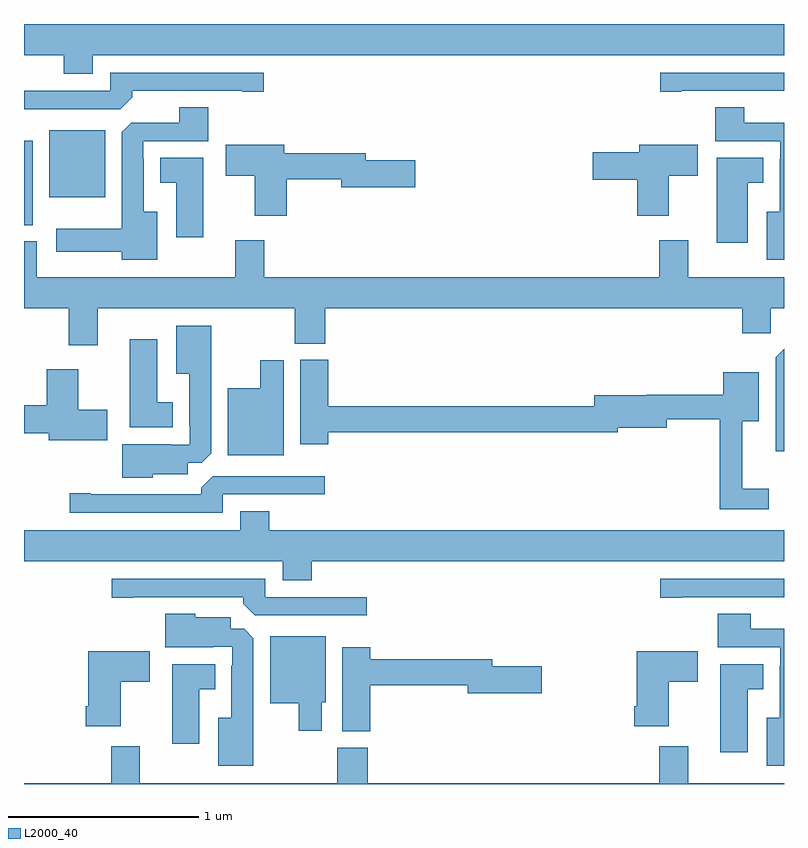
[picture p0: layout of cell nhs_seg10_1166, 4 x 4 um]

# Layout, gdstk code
import gdstk
lib = gdstk.Library(unit=1e-6, precision=1e-09)
def R(c, l, rs):  # rectangles x0, y0, x1, y1
    for r in rs: c.add(gdstk.rectangle(r[:2], r[2:], *l))
def P(c, l, *ps):  # polygons
    for p in ps: c.add(gdstk.Polygon(p, *l))
L2000_40 = (2000, 40)

nhs_seg10_1166 = lib.new_cell('nhs_seg10_1166')
R(nhs_seg10_1166, L2000_40, [(171,1279.442,171.046,1279.885), (171.134,1279.589,171.427,1279.942)])
P(nhs_seg10_1166, L2000_40, [(171.361,1280.336),(175,1280.336),(175,1280.5),(171,1280.5),(171,1280.336),(171.209,1280.336),(171.209,1280.237),(171.361,1280.237)],
  [(171.569,1280.114),(171.569,1280.148),(172.148,1280.148),(172.148,1280.143),(172.261,1280.143),(172.261,1280.244),(171.453,1280.244),(171.453,1280.148),(171,1280.148),(171,1280.052),(171.507,1280.052)],
  [(174.46,1280.148),(175,1280.148),(175,1280.244),(174.348,1280.244),(174.348,1280.143),(174.46,1280.143)],
  [(171.7,1279.513),(171.631,1279.513),(171.631,1279.787),(171.627,1279.787),(171.627,1279.884),(171.971,1279.884),(171.971,1280.063),(171.818,1280.063),(171.818,1279.98),(171.564,1279.98),(171.515,1279.931),(171.515,1279.423),(171.171,1279.423),(171.171,1279.301),(171.515,1279.301),(171.515,1279.259),(171.7,1279.259)],
  [(175,1279.98),(174.79,1279.98),(174.79,1280.063),(174.638,1280.063),(174.638,1279.884),(174.981,1279.884),(174.981,1279.787),(174.977,1279.787),(174.977,1279.513),(174.908,1279.513),(174.908,1279.259),(175,1279.259)],
  [(172.382,1279.684),(172.67,1279.684),(172.67,1279.642),(173.059,1279.642),(173.059,1279.784),(172.798,1279.784),(172.798,1279.82),(172.369,1279.82),(172.369,1279.864),(172.062,1279.864),(172.062,1279.702),(172.214,1279.702),(172.214,1279.491),(172.382,1279.491)],
  [(174.394,1279.702),(174.547,1279.702),(174.547,1279.864),(174.239,1279.864),(174.239,1279.826),(173.994,1279.826),(173.994,1279.679),(174.227,1279.679),(174.227,1279.491),(174.394,1279.491)],
  [(171.943,1279.795),(171.716,1279.795),(171.716,1279.664),(171.8,1279.664),(171.8,1279.377),(171.943,1279.377)],
  [(174.808,1279.664),(174.892,1279.664),(174.892,1279.795),(174.647,1279.795),(174.647,1279.35),(174.808,1279.35)],
  [(171.388,1279.004),(172.426,1279.004),(172.426,1278.817),(172.586,1278.817),(172.586,1279.004),(174.779,1279.004),(174.779,1278.873),(174.93,1278.873),(174.93,1279.004),(175,1279.004),(175,1279.168),(174.496,1279.168),(174.496,1279.363),(174.344,1279.363),(174.344,1279.168),(172.265,1279.168),(172.265,1279.363),(172.112,1279.363),(172.112,1279.168),(171.067,1279.168),(171.067,1279.357),(171,1279.357),(171,1279.004),(171.236,1279.004),(171.236,1278.81),(171.388,1278.81)],
  [(171.678,1278.131),(171.862,1278.131),(171.862,1278.192),(171.936,1278.192),(171.985,1278.241),(171.985,1278.913),(171.8,1278.913),(171.8,1278.659),(171.869,1278.659),(171.869,1278.385),(171.873,1278.385),(171.873,1278.285),(171.773,1278.285),(171.773,1278.289),(171.518,1278.289),(171.518,1278.113),(171.678,1278.113)],
  [(171.784,1278.508),(171.7,1278.508),(171.7,1278.841),(171.557,1278.841),(171.557,1278.377),(171.784,1278.377)],
  [(175,1278.79),(174.957,1278.747),(174.957,1278.252),(175,1278.252)],
  [(174.919,1278.055),(174.779,1278.055),(174.779,1278.41),(174.868,1278.41),(174.868,1278.667),(174.68,1278.667),(174.68,1278.55),(174.278,1278.55),(174.278,1278.546),(174.002,1278.546),(174.002,1278.488),(172.601,1278.488),(172.601,1278.732),(172.454,1278.732),(172.454,1278.288),(172.601,1278.288),(172.601,1278.352),(174.126,1278.352),(174.126,1278.374),(174.382,1278.374),(174.382,1278.421),(174.661,1278.421),(174.661,1277.946),(174.919,1277.946)],
  [(172.366,1278.73),(172.244,1278.73),(172.244,1278.583),(172.073,1278.583),(172.073,1278.23),(172.366,1278.23)],
  [(171.439,1278.471),(171.286,1278.471),(171.286,1278.682),(171.119,1278.682),(171.119,1278.494),(171,1278.494),(171,1278.347),(171.131,1278.347),(171.131,1278.308),(171.439,1278.308)],
  [(172.047,1278.024),(172.582,1278.024),(172.582,1278.12),(171.993,1278.12),(171.932,1278.058),(171.932,1278.024),(171.352,1278.024),(171.352,1278.029),(171.24,1278.029),(171.24,1277.928),(172.047,1277.928)],
  [(172.514,1277.672),(175,1277.672),(175,1277.836),(172.292,1277.836),(172.292,1277.935),(172.139,1277.935),(172.139,1277.836),(171,1277.836),(171,1277.672),(172.361,1277.672),(172.361,1277.573),(172.514,1277.573)],
  [(172.804,1277.484),(172.269,1277.484),(172.269,1277.58),(171.462,1277.58),(171.462,1277.479),(171.574,1277.479),(171.574,1277.484),(172.154,1277.484),(172.154,1277.45),(172.215,1277.388),(172.804,1277.388)],
  [(174.46,1277.484),(175,1277.484),(175,1277.58),(174.348,1277.58),(174.348,1277.479),(174.46,1277.479)],
  [(175,1277.316),(174.826,1277.316),(174.826,1277.395),(174.65,1277.395),(174.65,1277.22),(174.981,1277.22),(174.981,1277.123),(174.977,1277.123),(174.977,1276.849),(174.908,1276.849),(174.908,1276.595),(175,1276.595)],
  [(172.207,1277.267),(172.158,1277.316),(172.087,1277.316),(172.087,1277.377),(171.9,1277.377),(171.9,1277.395),(171.743,1277.395),(171.743,1277.219),(171.995,1277.219),(171.995,1277.223),(172.095,1277.223),(172.095,1277.123),(172.091,1277.123),(172.091,1276.849),(172.022,1276.849),(172.022,1276.595),(172.207,1276.595)],
  [(172.567,1276.929),(172.588,1276.929),(172.588,1277.278),(172.295,1277.278),(172.295,1276.925),(172.445,1276.925),(172.445,1276.779),(172.567,1276.779)],
  [(172.823,1277.02),(173.336,1277.02),(173.336,1276.978),(173.725,1276.978),(173.725,1277.12),(173.464,1277.12),(173.464,1277.156),(172.823,1277.156),(172.823,1277.221),(172.676,1277.221),(172.676,1276.777),(172.823,1276.777)],
  [(171.508,1277.038),(171.661,1277.038),(171.661,1277.2),(171.338,1277.2),(171.338,1276.909),(171.326,1276.909),(171.326,1276.805),(171.508,1276.805)],
  [(174.394,1277.038),(174.547,1277.038),(174.547,1277.2),(174.224,1277.2),(174.224,1276.909),(174.212,1276.909),(174.212,1276.805),(174.394,1276.805)],
  [(174.808,1277),(174.892,1277),(174.892,1277.131),(174.665,1277.131),(174.665,1276.668),(174.808,1276.668)],
  [(171.922,1277),(172.006,1277),(172.006,1277.131),(171.779,1277.131),(171.779,1276.713),(171.922,1276.713)],
  [(175,1276.504),(174.496,1276.504),(174.496,1276.699),(174.344,1276.699),(174.344,1276.504),(172.808,1276.504),(172.808,1276.692),(172.648,1276.692),(172.648,1276.504),(171.61,1276.504),(171.61,1276.699),(171.458,1276.699),(171.458,1276.504),(171,1276.504),(171,1276.5),(175,1276.5)])

lib.write_gds('nhs_seg10_1166.gds')
